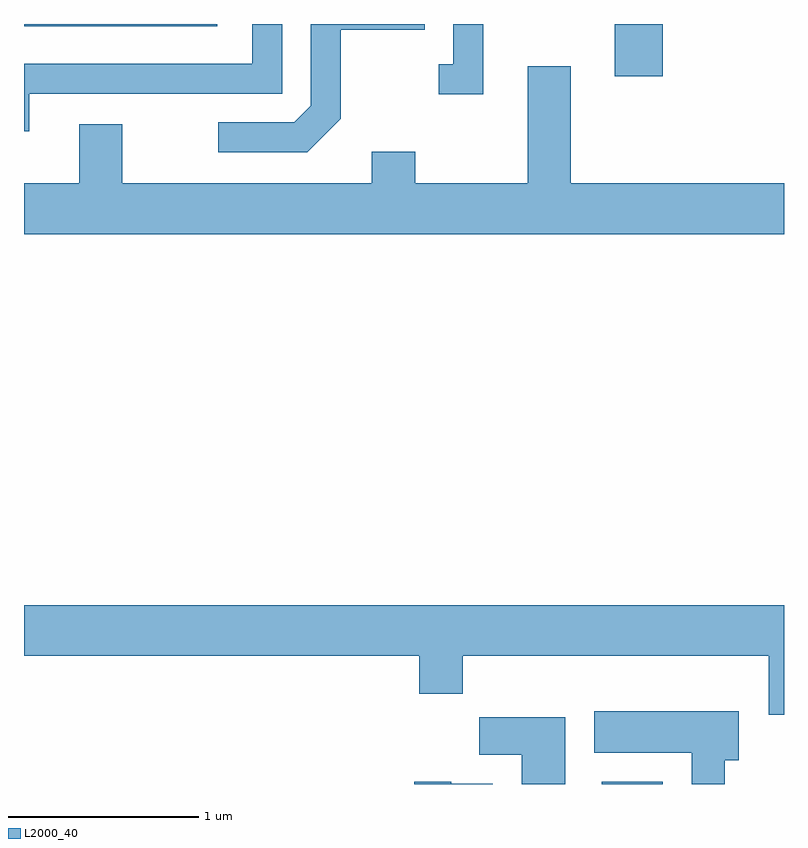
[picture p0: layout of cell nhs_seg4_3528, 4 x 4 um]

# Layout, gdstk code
import gdstk
lib = gdstk.Library(unit=1e-6, precision=1e-09)
def R(c, l, rs):  # rectangles x0, y0, x1, y1
    for r in rs: c.add(gdstk.rectangle(r[:2], r[2:], *l))
def P(c, l, *ps):  # polygons
    for p in ps: c.add(gdstk.Polygon(p, *l))
L2000_40 = (2000, 40)

nhs_seg4_3528 = lib.new_cell('nhs_seg4_3528')
R(nhs_seg4_3528, L2000_40, [(290.651,1373.982,290.974,1373.994), (290.721,1377.706,290.974,1377.982), (287.611,1377.971,288.629,1377.982)])
P(nhs_seg4_3528, L2000_40, [(290.029,1377.982),(289.871,1377.982),(289.871,1377.769),(289.793,1377.769),(289.793,1377.611),(290.029,1377.611)],
  [(289.279,1377.484),(289.279,1377.951),(289.719,1377.951),(289.719,1377.982),(289.121,1377.982),(289.121,1377.552),(289.034,1377.464),(288.633,1377.464),(288.633,1377.306),(289.102,1377.306)],
  [(287.639,1377.616),(288.969,1377.616),(288.969,1377.982),(288.811,1377.982),(288.811,1377.774),(287.611,1377.774),(287.611,1377.418),(287.639,1377.418)],
  [(291.611,1377.144),(290.489,1377.144),(290.489,1377.759),(290.261,1377.759),(290.261,1377.144),(289.669,1377.144),(289.669,1377.309),(289.441,1377.309),(289.441,1377.144),(288.129,1377.144),(288.129,1377.454),(287.901,1377.454),(287.901,1377.144),(287.611,1377.144),(287.611,1376.876),(291.611,1376.876)],
  [(291.611,1374.924),(287.611,1374.924),(287.611,1374.656),(289.691,1374.656),(289.691,1374.456),(289.919,1374.456),(289.919,1374.656),(291.531,1374.656),(291.531,1374.346),(291.611,1374.346)],
  [(291.299,1374.106),(291.374,1374.106),(291.374,1374.364),(290.611,1374.364),(290.611,1374.146),(291.126,1374.146),(291.126,1373.982),(291.299,1373.982)],
  [(290.459,1374.334),(290.006,1374.334),(290.006,1374.136),(290.231,1374.136),(290.231,1373.982),(290.459,1373.982)],
  [(290.079,1373.984),(289.86,1373.984),(289.86,1373.994),(289.666,1373.994),(289.666,1373.982),(290.079,1373.982)])

lib.write_gds('nhs_seg4_3528.gds')
